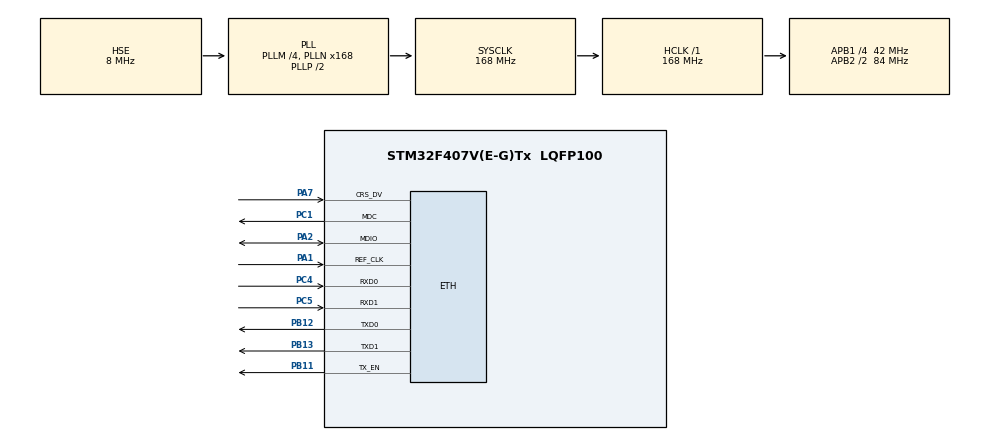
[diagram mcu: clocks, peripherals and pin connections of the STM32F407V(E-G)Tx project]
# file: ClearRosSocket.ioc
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ETH.MediaInterface=ETH_MEDIA_INTERFACE_RMII
ETH.PhyAddress=0
FREERTOS.HEAP_NUMBER=5
FREERTOS.Tasks01=defaultTask,0,128,StartDefaultTask,Default,NULL,Dynamic,NULL,NULL
LWIP.GATEWAY_ADDRESS=192.168.055.001
LWIP.IP_ADDRESS=192.168.055.114
LWIP.LWIP_DHCP=0
LWIP.LWIP_UDP=0
LWIP.MEM_SIZE=2048
LWIP.NETMASK_ADDRESS=255.255.255.000
LWIP.Version=v2.1.2_Cube
Mcu.Family=STM32F4
Mcu.Name=STM32F407V(E-G)Tx
Mcu.Package=LQFP100
NVIC.ETH_IRQn=true\:5\:0\:true\:false\:true\:true\:true\:true
NVIC.ETH_WKUP_IRQn=true\:5\:0\:true\:false\:true\:true\:true\:true
NVIC.PriorityGroup=NVIC_PRIORITYGROUP_4
NVIC.TIM1_UP_TIM10_IRQn=true\:0\:0\:false\:false\:true\:false\:false\:true
NVIC.TimeBase=TIM1_UP_TIM10_IRQn
NVIC.TimeBaseIP=TIM1
PA1.Mode=RMII
PA1.Signal=ETH_REF_CLK
PA2.Mode=RMII
PA2.Signal=ETH_MDIO
PA7.Mode=RMII
PA7.Signal=ETH_CRS_DV
PB11.Mode=RMII
PB11.Signal=ETH_TX_EN
PB12.Mode=RMII
PB12.Signal=ETH_TXD0
PB13.Mode=RMII
PB13.Signal=ETH_TXD1
PC1.Mode=RMII
PC1.Signal=ETH_MDC
PC4.Mode=RMII
PC4.Signal=ETH_RXD0
PC5.Mode=RMII
PC5.Signal=ETH_RXD1
PH0-OSC_IN.Mode=HSE-External-Oscillator
PH0-OSC_IN.Signal=RCC_OSC_IN
PH1-OSC_OUT.Mode=HSE-External-Oscillator
PH1-OSC_OUT.Signal=RCC_OSC_OUT
ProjectManager.HeapSize=0x200
ProjectManager.StackSize=0x400
ProjectManager.TargetToolchain=STM32CubeIDE
RCC.48MHZClocksFreq_Value=84000000
RCC.AHBFreq_Value=168000000
RCC.APB1CLKDivider=RCC_HCLK_DIV4
RCC.APB1Freq_Value=42000000
RCC.APB1TimFreq_Value=84000000
RCC.APB2CLKDivider=RCC_HCLK_DIV2
RCC.APB2Freq_Value=84000000
RCC.APB2TimFreq_Value=168000000
RCC.CortexFreq_Value=168000000
RCC.HCLKFreq_Value=168000000
RCC.HSE_VALUE=8000000
RCC.HSI_VALUE=16000000
RCC.LSE_VALUE=32768
RCC.PLLM=4
RCC.PLLN=168
RCC.PLLSourceVirtual=RCC_PLLSOURCE_HSE
RCC.SYSCLKFreq_VALUE=168000000
RCC.SYSCLKSource=RCC_SYSCLKSOURCE_PLLCLK
RCC.VCOOutputFreq_Value=336000000
VP_FREERTOS_VS_CMSIS_V1.Mode=CMSIS_V1
VP_LWIP_VS_Enabled.Mode=Enabled
VP_SYS_VS_tim1.Mode=TIM1
board=custom

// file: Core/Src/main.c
/* USER CODE BEGIN Header */
/**
  ******************************************************************************
  * @file           : main.c
  * @brief          : Main program body
  ******************************************************************************
  * @attention
  *
  * <h2><center>&copy; Copyright (c) 2020 STMicroelectronics.
  * All rights reserved.</center></h2>
  *
  * This software component is licensed by ST under BSD 3-Clause license,
  * the "License"; You may not use this file except in compliance with the
  * License. You may obtain a copy of the License at:
  *                        opensource.org/licenses/BSD-3-Clause
  *
  ******************************************************************************
  */
/* USER CODE END Header */

#include "main.h"
#include "cmsis_os.h"
#include "lwip.h"

/* USER CODE BEGIN Includes */
#include "stdint.h"
#include "string.h"

#include "lwip/opt.h"
#include "lwip/arch.h"
#include "lwip/api.h"
#include "lwip/inet.h"
#include "lwip/sockets.h"

#include "RosHelper.h"
#include "SocketClient.h"
#include "SocketServer.h"
/* USER CODE END Includes */

osThreadId defaultTaskHandle;

void SystemClock_Config(void);
static void MX_GPIO_Init(void);
void StartDefaultTask(void const * argument);

/* USER CODE BEGIN 0 */
static __attribute__ ((used,section(".user_heap_stack"))) uint8_t heap_sram1[32*1024];
uint8_t heap_sram2[32*1024];

/* USER CODE END 0 */

int main(void)
{
  /* USER CODE BEGIN 1 */
	HeapRegion_t xHeapRegions[] =
  {
	  {  heap_sram1, sizeof(heap_sram1) },
	  {  heap_sram2, sizeof(heap_sram2) },
	  { NULL, 0 }
  };
  vPortDefineHeapRegions( xHeapRegions );
  /* USER CODE END 1 */

  /* MCU Configuration--------------------------------------------------------*/

  /* Reset of all peripherals, Initializes the Flash interface and the Systick. */
  HAL_Init();

  /* Configure the system clock */
  SystemClock_Config();

  /* Initialize all configured peripherals */
  MX_GPIO_Init();

  /* Create the thread(s) */
  /* definition and creation of defaultTask */
  osThreadDef(defaultTask, StartDefaultTask, osPriorityNormal, 0, 128);
  defaultTaskHandle = osThreadCreate(osThread(defaultTask), NULL);

  /* Start scheduler */
  osKernelStart();

  /* We should never get here as control is now taken by the scheduler */
  /* Infinite loop */
  while (1)
  {

  }
}

void SystemClock_Config(void)
{
  RCC_OscInitTypeDef RCC_OscInitStruct = {0};
  RCC_ClkInitTypeDef RCC_ClkInitStruct = {0};

  /** Configure the main internal regulator output voltage
  */
  __HAL_RCC_PWR_CLK_ENABLE();
  __HAL_PWR_VOLTAGESCALING_CONFIG(PWR_REGULATOR_VOLTAGE_SCALE1);
  /** Initializes the CPU, AHB and APB busses clocks
  */
  RCC_OscInitStruct.OscillatorType = RCC_OSCILLATORTYPE_HSE;
  RCC_OscInitStruct.HSEState = RCC_HSE_ON;
  RCC_OscInitStruct.PLL.PLLState = RCC_PLL_ON;
  RCC_OscInitStruct.PLL.PLLSource = RCC_PLLSOURCE_HSE;
  RCC_OscInitStruct.PLL.PLLM = 4;
  RCC_OscInitStruct.PLL.PLLN = 168;
  RCC_OscInitStruct.PLL.PLLP = RCC_PLLP_DIV2;
  RCC_OscInitStruct.PLL.PLLQ = 4;
  if (HAL_RCC_OscConfig(&RCC_OscInitStruct) != HAL_OK)
  {
    Error_Handler();
  }
  /** Initializes the CPU, AHB and APB busses clocks
  */
  RCC_ClkInitStruct.ClockType = RCC_CLOCKTYPE_HCLK|RCC_CLOCKTYPE_SYSCLK
                              |RCC_CLOCKTYPE_PCLK1|RCC_CLOCKTYPE_PCLK2;
  RCC_ClkInitStruct.SYSCLKSource = RCC_SYSCLKSOURCE_PLLCLK;
  RCC_ClkInitStruct.AHBCLKDivider = RCC_SYSCLK_DIV1;
  RCC_ClkInitStruct.APB1CLKDivider = RCC_HCLK_DIV4;
  RCC_ClkInitStruct.APB2CLKDivider = RCC_HCLK_DIV2;

  if (HAL_RCC_ClockConfig(&RCC_ClkInitStruct, FLASH_LATENCY_5) != HAL_OK)
  {
    Error_Handler();
  }
}

static void MX_GPIO_Init(void)
{

  /* GPIO Ports Clock Enable */
  __HAL_RCC_GPIOH_CLK_ENABLE();
  __HAL_RCC_GPIOC_CLK_ENABLE();
  __HAL_RCC_GPIOA_CLK_ENABLE();
  __HAL_RCC_GPIOB_CLK_ENABLE();

}

void StartDefaultTask(void const * argument)
{
  /* init code for LWIP */
  MX_LWIP_Init();
  /* USER CODE BEGIN 5 */
  sys_thread_new("tcp_thread", tcp_thread, NULL, DEFAULT_THREAD_STACKSIZE, osPriorityNormal);
  sys_thread_new("send_thread", send_thread, NULL, DEFAULT_THREAD_STACKSIZE, osPriorityNormal);
//  sys_thread_new("ros_thread", ros_thread, NULL, DEFAULT_THREAD_STACKSIZE, osPriorityNormal);
  /* Infinite loop */
  for(;;)
  {
    osDelay(1);
  }
  /* USER CODE END 5 */
}

 /**
  * @brief  Period elapsed callback in non blocking mode
  * @note   This function is called  when TIM1 interrupt took place, inside
  * HAL_TIM_IRQHandler(). It makes a direct call to HAL_IncTick() to increment
  * a global variable "uwTick" used as application time base.
  * @param  htim : TIM handle
  * @retval None
  */
void HAL_TIM_PeriodElapsedCallback(TIM_HandleTypeDef *htim)
{
  if (htim->Instance == TIM1) {
    HAL_IncTick();
  }
}

void Error_Handler(void)
{
}

/************************ (C) COPYRIGHT STMicroelectronics *****END OF FILE****/
